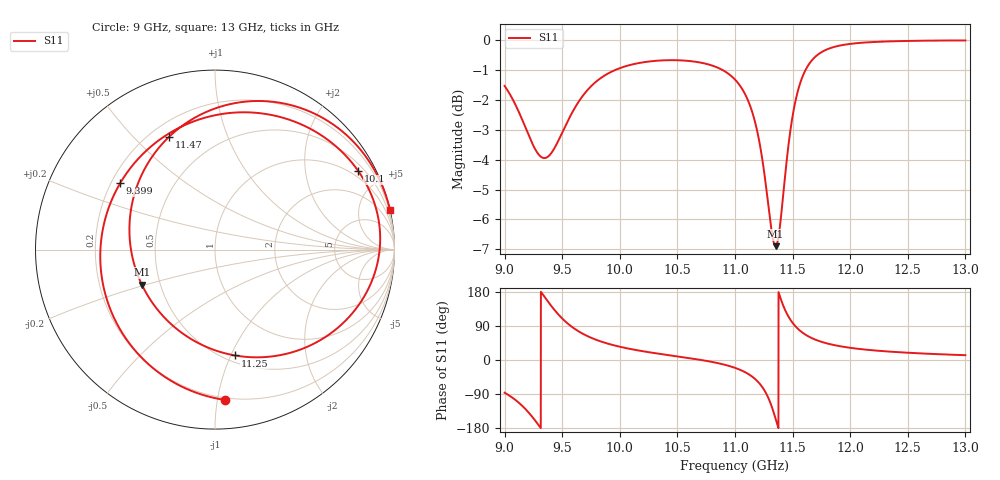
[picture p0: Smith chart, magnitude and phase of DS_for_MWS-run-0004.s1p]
! TOUCHSTONE file generated by CST DESIGN STUDIO
! Date and time: Tue Feb  4 16:47:10 2025
! Project name: C:\Work\MatlabApps\UnitCellOptimizationMatlab\CST\unitcell.cst
! Tree item: Tasks\Sweep1\SPara1\S-Parameters
! Header version: 2024
! Port assignment regex: !\s*Touchstone port\s*([0-9]+)\s*=\s*(CST MWS port|CST DES external port|CST DES block port)\s*(.+)\s* \(\"(.*)\"\)(\s*mode\s*([0-9]+))?.*
! Touchstone port assignment:
! Touchstone port 1 = CST DES external port 1 ("")
# GHz S MA R 50
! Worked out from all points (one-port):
!   4001 points, 9 GHz to 13 GHz, reference 50 ohm
!   lowest |S11| = -6.9 dB at 11.35 GHz (marker M1), VSWR 2.65, Z = 19.7 - j9.63 ohm
!   |S11| at or under -10 dB: nowhere
!   S11 on the Smith chart (normalised r, x): 9 GHz: 0.19, -1.05; 9.399 GHz: 0.24, +0.30; 10.1 GHz: 0.74, +3.77; 11.25 GHz: 0.56, -1.04; 11.47 GHz: 0.27, +0.64; 13 GHz: 0.01, +9.00
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9  0.8388 -86.4
9.13  0.7537 -114.5
9.25  0.6658 -153.8
9.324  0.6366 176.1
9.399  0.645 145.0
9.5  0.7005 109.6
9.601  0.7657 83.8
9.733  0.8311 61.1
9.856  0.8703 46.9
10  0.8984 35.0
10.098  0.9104 28.7
10.5  0.9263 9.5
10.802  0.9074 -5.2
11  0.8596 -20.7
11.142  0.7663 -42.3
11.199  0.6954 -57.4
11.254  0.5998 -79.4
11.304  0.5017 -110.7
11.352  0.452 -154.5
11.406  0.5209 153.7
11.469  0.6791 112.0
11.5  0.7468 98.0
11.574  0.8571 75.0
11.694  0.9376 54.1
11.823  0.9699 41.9
12  0.9866 32.2
12.5  0.9979 19.2
13  0.9997 12.7
